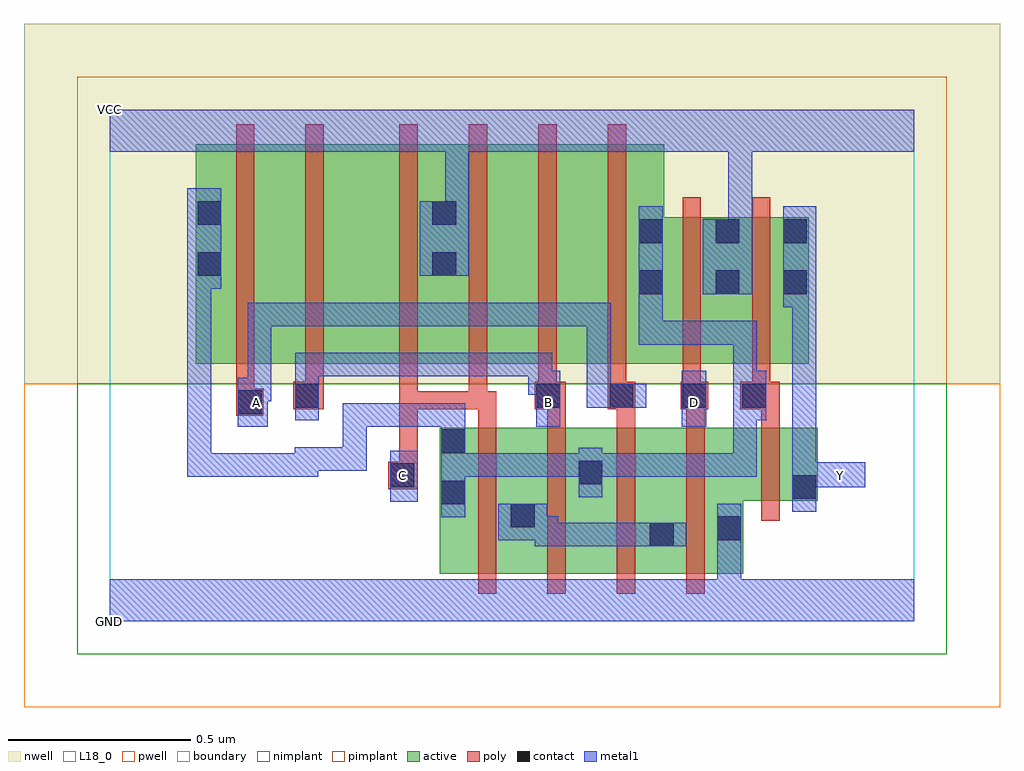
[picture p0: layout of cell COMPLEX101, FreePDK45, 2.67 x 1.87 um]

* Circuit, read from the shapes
.subckt COMPLEX101 A B C D GND VCC Y
M1 n1 C n2 VSUBS nfet w=0.4u l=0.05u
M2 n2 B n1 VSUBS nfet w=0.4u l=0.05u
M3 n1 A n2 VSUBS nfet w=0.4u l=0.05u
M4 GND D n1 VSUBS nfet w=0.4u l=0.05u
M5 Y n2 GND VSUBS nfet w=0.2u l=0.05u
M6 n3 A n2 n4 pfet w=0.6u l=0.05u
M7 n5 B n3 n4 pfet w=0.6u l=0.05u
M8 VCC C n5 n4 pfet w=0.6u l=0.05u
M9 n6 C VCC n4 pfet w=0.6u l=0.05u
M10 n7 B n6 n4 pfet w=0.6u l=0.05u
M11 n2 A n7 n4 pfet w=0.6u l=0.05u
M12 VCC D n2 n4 pfet w=0.4u l=0.05u
M13 Y n2 VCC n4 pfet w=0.4u l=0.05u
.ends

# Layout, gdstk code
import gdstk
lib = gdstk.Library(unit=1e-6, precision=1e-09)
def R(c, l, rs):  # rectangles x0, y0, x1, y1
    for r in rs: c.add(gdstk.rectangle(r[:2], r[2:], *l))
def A(c, l, x, y, w, h, nx, ny, dx, dy):  # array of equal rectangles
    R(c, l, [(x+i*dx, y+j*dy, x+i*dx+w, y+j*dy+h) for i in range(nx) for j in range(ny)])
active = (1, 0)
pwell = (2, 0)
nwell = (3, 0)
nimplant = (4, 0)
pimplant = (5, 0)
poly = (9, 0)
contact = (10, 0)
metal1 = (11, 0)
L18_0 = (18, 0)
boundary = (235, 0)

complex101 = lib.new_cell('COMPLEX101')
R(complex101, active, [(0.902,0.13,1.167,0.53), (1.092,0.13,1.352,0.53), (1.277,0.13,1.547,0.53), (1.472,0.13,1.732,0.53), (1.657,0.13,1.732,0.33), (0.902,0.195,0.977,0.53), (1.092,0.195,1.167,0.492), (1.277,0.195,1.352,0.492), (1.472,0.195,1.547,0.492), (1.657,0.33,1.937,0.53), (1.862,0.33,1.937,0.53), (0.235,0.705,0.465,1.305), (0.235,0.705,0.345,1.2), (0.465,0.705,0.655,1.305), (0.655,0.705,0.952,1.305), (0.877,0.705,1.102,1.305), (1.102,0.705,1.292,1.305), (1.292,0.705,1.517,1.305), (1.442,0.705,1.727,1.105), (1.442,0.705,1.517,1.2), (1.652,0.705,1.912,1.105), (1.837,0.705,1.912,1.105), (0.877,0.707,0.952,1.305), (1.652,0.822,1.727,1.105)])
R(complex101, pwell, [(-0.235,-0.235,2.435,0.65)])
R(complex101, nwell, [(-0.235,0.65,2.435,1.635)])
R(complex101, nimplant, [(-0.09,-0.09,2.29,0.65)])
R(complex101, pimplant, [(-0.09,0.65,2.29,1.49)])
A(complex101, poly, 1.007, 0.075, 0.05, 0.51, 4, 1, 0.19, 0)
A(complex101, poly, 1.007, 0.535, 0.05, 0.095, 4, 1, 0.19, 0)
A(complex101, poly, 0.792, 0.65, 0.05, 0.71, 4, 1, 0.19, 0)
R(complex101, poly, [(1.782,0.275,1.832,0.585), (0.762,0.362,0.842,0.437), (0.792,0.387,0.842,0.437), (0.792,0.387,0.842,0.437), (0.792,0.387,0.842,0.63), (1.782,0.535,1.832,0.63), (0.345,0.562,0.42,0.637), (0.502,0.58,0.585,0.655), (0.792,0.58,0.842,0.7), (0.792,0.58,0.842,0.63), (0.792,0.58,1.032,0.63), (0.982,0.58,1.032,0.7), (0.982,0.58,1.032,0.63), (0.982,0.58,1.032,0.63), (0.982,0.58,1.057,0.63), (1.162,0.58,1.247,0.655), (1.362,0.58,1.437,0.655), (1.562,0.58,1.637,0.655), (1.725,0.58,1.832,0.655), (0.345,0.587,0.395,0.7), (0.535,0.605,0.585,0.7), (1.172,0.605,1.222,0.7), (1.362,0.605,1.412,0.7), (1.567,0.605,1.617,0.7), (1.757,0.605,1.807,0.7), (0.345,0.65,0.395,1.36), (0.535,0.65,0.585,1.36), (1.567,0.65,1.617,1.16), (1.757,0.65,1.807,1.16)])
A(complex101, contact, 1.167, 0.585, 0.065, 0.065, 3, 1, 0.2, 0)
R(complex101, contact, [(1.477,0.205,1.542,0.27), (1.662,0.222,1.727,0.287), (1.097,0.257,1.162,0.322), (0.907,0.32,0.972,0.385), (1.867,0.335,1.932,0.4), (0.767,0.367,0.832,0.432), (1.282,0.375,1.347,0.44), (0.907,0.46,0.972,0.525), (0.35,0.567,0.415,0.632), (0.507,0.585,0.572,0.65), (1.73,0.585,1.795,0.65), (1.447,0.895,1.512,0.96), (1.657,0.895,1.722,0.96), (1.842,0.895,1.907,0.96), (0.24,0.945,0.305,1.01), (0.882,0.945,0.947,1.01), (1.447,1.035,1.512,1.1), (1.657,1.035,1.722,1.1), (1.842,1.035,1.907,1.1), (0.24,1.085,0.305,1.15), (0.882,1.085,0.947,1.15)])
A(complex101, metal1, 1.305, 0.205, 0.065, 0.065, 1, 3, 0, 0.19)
R(complex101, metal1, [(0,0,2.2,0.115), (1.662,0.05,1.727,0.252), (1.662,0.187,1.727,0.322), (1.162,0.205,1.37,0.27), (1.162,0.205,1.227,0.287), (1.305,0.205,1.37,0.27), (1.305,0.205,1.37,0.27), (1.305,0.205,1.507,0.27), (1.442,0.205,1.577,0.27), (1.062,0.222,1.197,0.322), (1.132,0.222,1.227,0.287), (0.907,0.285,0.972,0.597), (1.867,0.3,1.932,0.435), (0.767,0.327,0.842,0.467), (1.282,0.34,1.347,0.475), (1.867,0.367,2.067,0.435), (1.867,0.37,1.932,0.925), (1.867,0.37,1.932,0.435), (0.212,0.395,0.277,0.46), (0.212,0.395,0.277,0.46), (0.212,0.395,0.277,0.46), (0.212,0.395,0.415,0.46), (0.212,0.395,0.277,0.975), (0.35,0.395,0.415,0.46), (0.35,0.395,0.415,0.46), (0.35,0.395,0.415,0.46), (0.35,0.395,0.57,0.46), (0.505,0.395,0.57,0.477), (0.907,0.395,1.09,0.46), (1.025,0.395,1.09,0.46), (1.025,0.395,1.21,0.46), (1.145,0.395,1.21,0.46), (1.145,0.395,1.232,0.46), (1.167,0.395,1.232,0.46), (1.167,0.395,1.347,0.46), (1.282,0.395,1.37,0.46), (1.305,0.395,1.55,0.46), (1.485,0.395,1.55,0.46), (1.485,0.395,1.55,0.46), (1.485,0.395,1.55,0.46), (1.485,0.395,1.77,0.46), (1.705,0.395,1.77,0.46), (1.705,0.395,1.77,0.615), (0.505,0.412,0.702,0.477), (0.637,0.412,0.702,0.597), (0.35,0.532,0.432,0.667), (0.637,0.532,0.832,0.597), (0.767,0.532,0.832,0.597), (0.767,0.532,0.972,0.597), (1.167,0.532,1.232,0.685), (1.565,0.532,1.632,0.685), (0.507,0.55,0.572,0.735), (1.705,0.55,1.77,0.615), (1.705,0.55,1.795,0.615), (1.705,0.55,1.77,0.822), (1.73,0.55,1.795,0.685), (1.305,0.585,1.397,0.65), (1.305,0.585,1.37,0.872), (1.332,0.585,1.467,0.65), (0.367,0.602,0.442,0.667), (0.377,0.602,0.442,0.667), (0.377,0.602,0.442,0.872), (1.145,0.62,1.232,0.685), (1.145,0.62,1.21,0.735), (0.507,0.67,0.58,0.735), (0.515,0.67,0.58,0.735), (0.515,0.67,0.952,0.735), (0.887,0.67,0.952,0.735), (0.887,0.67,0.99,0.735), (0.925,0.67,0.99,0.735), (0.925,0.67,1.09,0.735), (1.025,0.67,1.09,0.735), (1.025,0.67,1.21,0.735), (1.447,0.757,1.77,0.822), (1.447,0.757,1.512,0.925), (1.705,0.757,1.77,0.822), (0.377,0.807,0.442,0.872), (0.377,0.807,0.695,0.872), (0.63,0.807,0.695,0.872), (0.63,0.807,0.775,0.872), (0.71,0.807,0.775,0.872), (0.71,0.807,0.952,0.872), (0.887,0.807,0.952,0.872), (0.887,0.807,0.99,0.872), (0.925,0.807,0.99,0.872), (0.925,0.807,1.09,0.872), (1.025,0.807,1.09,0.872), (1.025,0.807,1.21,0.872), (1.145,0.807,1.21,0.872), (1.145,0.807,1.227,0.872), (1.162,0.807,1.227,0.872), (1.162,0.807,1.37,0.872), (1.305,0.807,1.37,0.872), (1.447,0.86,1.512,0.925), (1.447,0.86,1.512,1.135), (1.842,0.86,1.932,1.135), (1.622,0.895,1.757,1.1), (0.212,0.91,0.305,1.185), (0.847,0.945,0.982,1.15), (1.692,1.035,1.757,1.1), (1.692,1.035,1.757,1.1), (1.692,1.035,1.757,1.35), (0.917,1.085,0.982,1.35), (0,1.285,2.2,1.4)])
R(complex101, L18_0, [(0,0,2.2,0.115), (1.662,0.05,1.727,0.252), (1.662,0.187,1.727,0.322), (1.867,0.3,1.932,0.435), (0.767,0.327,0.842,0.467), (0.767,0.367,0.832,0.432), (1.867,0.367,2.067,0.435), (1.967,0.367,2.032,0.432), (1.867,0.37,1.932,0.435), (1.867,0.37,1.932,0.925), (0.35,0.532,0.432,0.667), (1.167,0.532,1.232,0.685), (1.565,0.532,1.632,0.685), (0.507,0.55,0.572,0.735), (0.367,0.567,0.432,0.632), (1.167,0.567,1.232,0.632), (1.567,0.567,1.632,0.632), (1.305,0.585,1.37,0.65), (1.305,0.585,1.37,0.872), (1.305,0.585,1.397,0.65), (1.332,0.585,1.467,0.65), (0.367,0.602,0.442,0.667), (0.377,0.602,0.442,0.667), (0.377,0.602,0.442,0.872), (1.145,0.62,1.21,0.735), (1.145,0.62,1.232,0.685), (0.507,0.67,0.58,0.735), (0.515,0.67,0.58,0.735), (0.515,0.67,0.952,0.735), (0.887,0.67,0.952,0.735), (0.887,0.67,0.99,0.735), (0.925,0.67,0.99,0.735), (0.925,0.67,1.09,0.735), (1.025,0.67,1.09,0.735), (1.025,0.67,1.21,0.735), (0.377,0.807,0.442,0.872), (0.377,0.807,0.695,0.872), (0.63,0.807,0.695,0.872), (0.63,0.807,0.775,0.872), (0.71,0.807,0.775,0.872), (0.71,0.807,0.952,0.872), (0.887,0.807,0.952,0.872), (0.887,0.807,0.99,0.872), (0.925,0.807,0.99,0.872), (0.925,0.807,1.09,0.872), (1.025,0.807,1.09,0.872), (1.025,0.807,1.21,0.872), (1.145,0.807,1.21,0.872), (1.145,0.807,1.227,0.872), (1.162,0.807,1.227,0.872), (1.162,0.807,1.37,0.872), (1.305,0.807,1.37,0.872), (1.842,0.86,1.932,1.135), (1.622,0.895,1.757,1.1), (0.847,0.945,0.982,1.15), (1.692,1.035,1.757,1.1), (1.692,1.035,1.757,1.1), (1.692,1.035,1.757,1.35), (0.917,1.085,0.982,1.35), (0,1.285,2.2,1.4)])
R(complex101, boundary, [(0,0,2.2,1.4)])
complex101.add(gdstk.Label('A', (0.4,0.6), layer=11, texttype=0))
complex101.add(gdstk.Label('B', (1.2,0.6), layer=11, texttype=0))
complex101.add(gdstk.Label('C', (0.8,0.4), layer=11, texttype=0))
complex101.add(gdstk.Label('D', (1.6,0.6), layer=11, texttype=0))
complex101.add(gdstk.Label('Y', (2,0.4), layer=11, texttype=0))
complex101.add(gdstk.Label('VCC', (0,1.4), layer=11, texttype=0))
complex101.add(gdstk.Label('GND', (0,0), layer=11, texttype=0))

lib.write_gds('COMPLEX101.gds')
